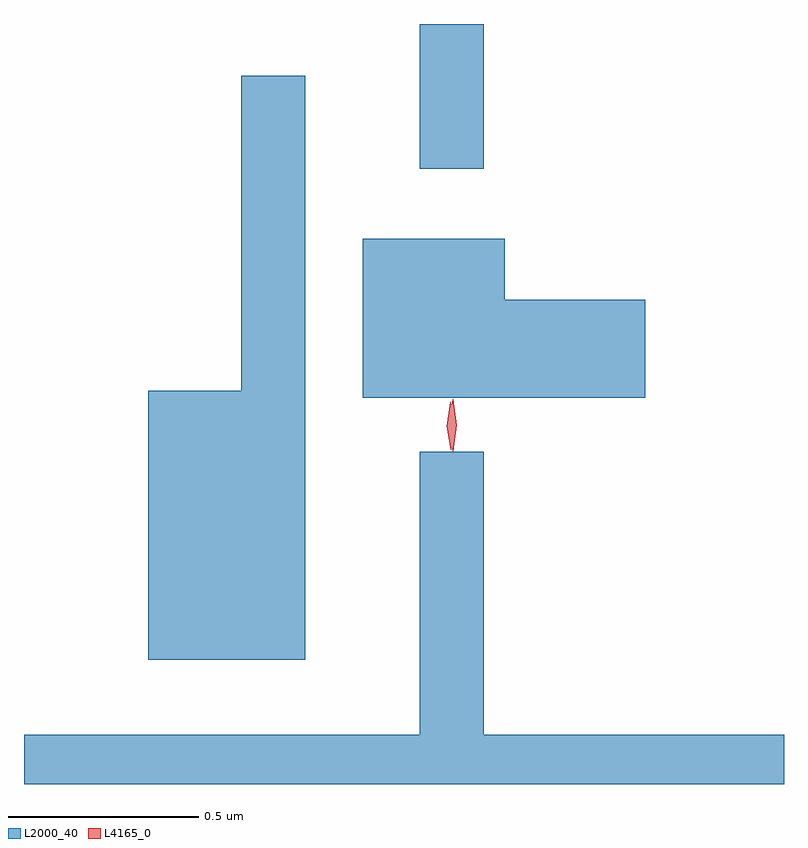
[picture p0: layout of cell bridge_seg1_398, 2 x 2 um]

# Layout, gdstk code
import gdstk
lib = gdstk.Library(unit=1e-6, precision=1e-09)
def R(c, l, rs):  # rectangles x0, y0, x1, y1
    for r in rs: c.add(gdstk.rectangle(r[:2], r[2:], *l))
def P(c, l, *ps):  # polygons
    for p in ps: c.add(gdstk.Polygon(p, *l))
L2000_40 = (2000, 40)
L4165_0 = (4165, 0)

bridge_seg1_398 = lib.new_cell('bridge_seg1_398')
R(bridge_seg1_398, L2000_40, [(557.891,943.513,558.059,943.894)])
P(bridge_seg1_398, L2000_40, [(557.589,943.758),(557.421,943.758),(557.421,942.929),(557.176,942.929),(557.176,942.221),(557.589,942.221)],
  [(558.484,943.169),(558.114,943.169),(558.114,943.329),(557.741,943.329),(557.741,942.911),(558.484,942.911)],
  [(558.849,942.024),(558.059,942.024),(558.059,942.768),(557.891,942.768),(557.891,942.024),(556.849,942.024),(556.849,941.894),(558.849,941.894)])
P(bridge_seg1_398, L4165_0, [(557.977,942.77),(557.977,942.77),(557.967,942.838),(557.977,942.906),(557.977,942.906),(557.978,942.906),(557.988,942.838),(557.978,942.77)],
  [(557.972,942.773),(557.972,942.773),(557.962,942.836),(557.971,942.899),(557.972,942.9),(557.972,942.899),(557.982,942.836),(557.973,942.773)])

lib.write_gds('bridge_seg1_398.gds')
